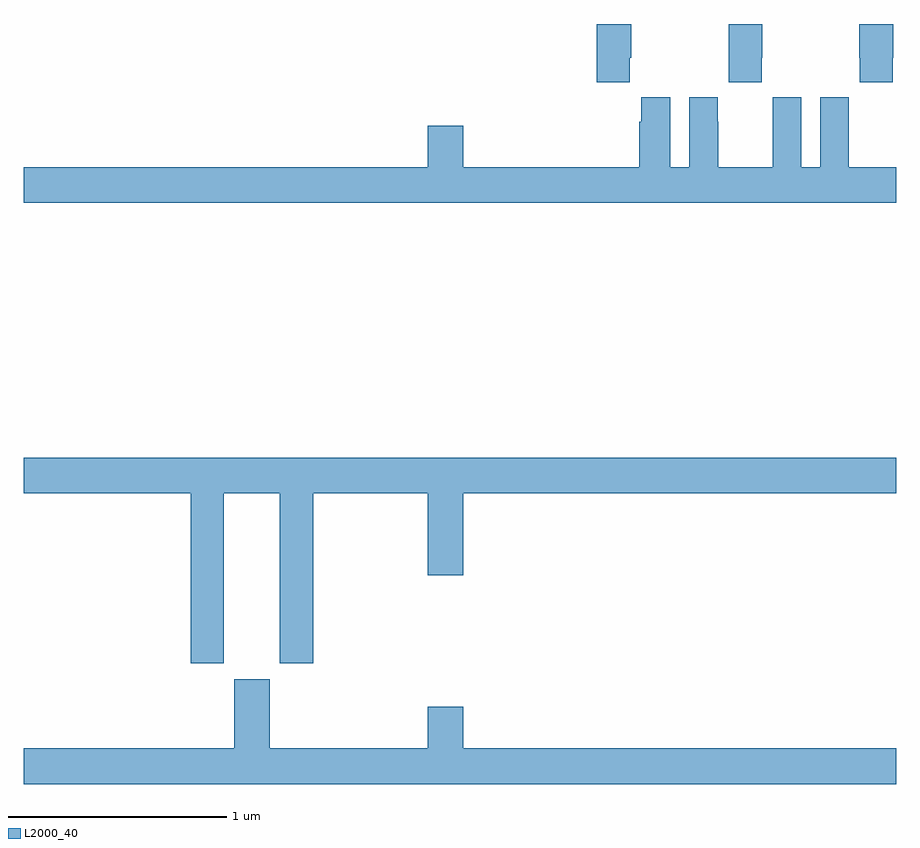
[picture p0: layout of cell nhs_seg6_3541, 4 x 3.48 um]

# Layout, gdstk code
import gdstk
lib = gdstk.Library(unit=1e-6, precision=1e-09)
def P(c, l, *ps):  # polygons
    for p in ps: c.add(gdstk.Polygon(p, *l))
L2000_40 = (2000, 40)

nhs_seg6_3541 = lib.new_cell('nhs_seg6_3541')
P(nhs_seg6_3541, L2000_40, [(321.779,937.345),(321.786,937.345),(321.786,937.5),(321.626,937.5),(321.626,937.233),(321.779,937.233)],
  [(322.383,937.345),(322.386,937.345),(322.386,937.5),(322.231,937.5),(322.231,937.345),(322.233,937.345),(322.233,937.233),(322.383,937.233)],
  [(322.831,937.345),(322.833,937.345),(322.833,937.233),(322.983,937.233),(322.983,937.345),(322.986,937.345),(322.986,937.5),(322.831,937.5)],
  [(323,936.844),(322.783,936.844),(322.783,937.052),(322.782,937.052),(322.782,937.165),(322.652,937.165),(322.652,936.844),(322.564,936.844),(322.564,937.165),(322.434,937.165),(322.434,937.052),(322.433,937.052),(322.433,936.844),(322.183,936.844),(322.183,937.052),(322.182,937.052),(322.182,937.165),(322.052,937.165),(322.052,936.844),(321.964,936.844),(321.964,937.165),(321.83,937.165),(321.83,937.052),(321.821,937.052),(321.821,936.844),(321.016,936.844),(321.016,937.033),(320.852,937.033),(320.852,936.844),(319,936.844),(319,936.68),(323,936.68)],
  [(319.918,935.348),(320.174,935.348),(320.174,934.569),(320.327,934.569),(320.327,935.348),(320.852,935.348),(320.852,934.974),(321.016,934.974),(321.016,935.348),(323,935.348),(323,935.512),(319,935.512),(319,935.348),(319.766,935.348),(319.766,934.569),(319.918,934.569)],
  [(323,934.18),(321.016,934.18),(321.016,934.369),(320.852,934.369),(320.852,934.18),(320.128,934.18),(320.128,934.497),(319.964,934.497),(319.964,934.18),(319,934.18),(319,934.016),(323,934.016)])

lib.write_gds('nhs_seg6_3541.gds')
